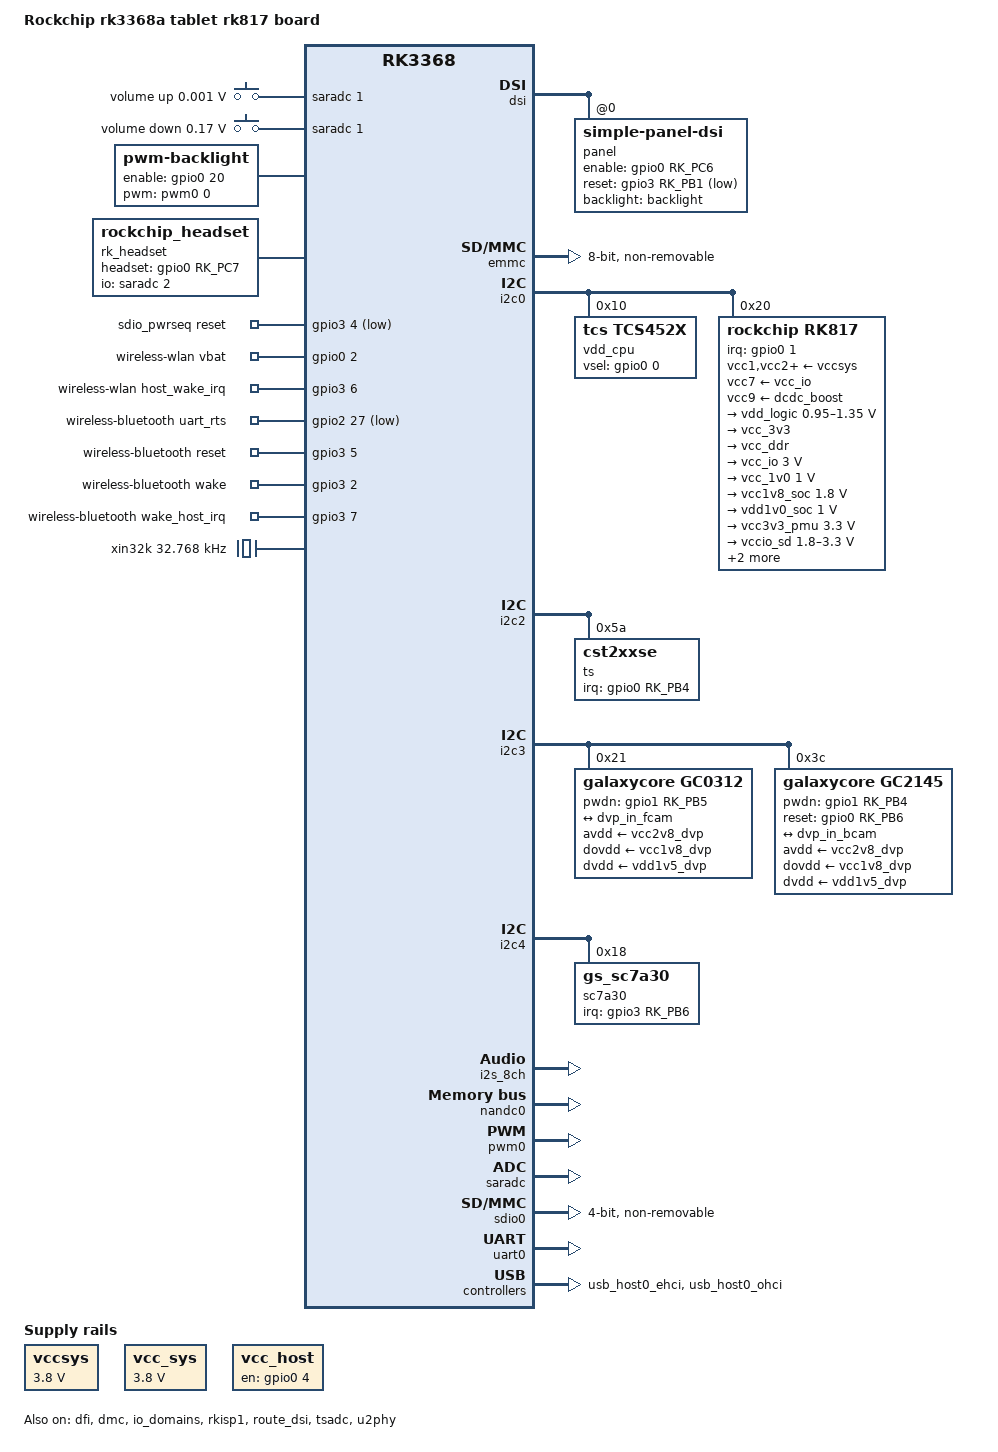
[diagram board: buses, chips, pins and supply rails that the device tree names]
// SPDX-License-Identifier: (GPL-2.0+ OR MIT)
/*
 * Copyright (c) 2020 Rockchip Electronics Co., Ltd.
 */

/dts-v1/;
#include <dt-bindings/input/input.h>
#include <dt-bindings/pwm/pwm.h>
#include <dt-bindings/sensor-dev.h>
#include "rk3368.dtsi"
#include "rk3368-android.dtsi"
/ {
	model = "Rockchip rk3368a tablet rk817 board";
	compatible = "rockchip,tablet", "rockchip,rk3368a", "rockchip,rk3368";

	adc_keys: adc-keys {
		compatible = "adc-keys";
		io-channels = <&saradc 1>;
		io-channel-names = "buttons";
		keyup-threshold-microvolt = <1024000>;
		poll-interval = <100>;

		vol-up-key {
			label = "volume up";
			linux,code = <KEY_VOLUMEUP>;
			press-threshold-microvolt = <1000>;
		};

		vol-down-key {
			label = "volume down";
			linux,code = <KEY_VOLUMEDOWN>;
			press-threshold-microvolt = <170000>;
		};
	};

	backlight: backlight {
		compatible = "pwm-backlight";
		pwms = <&pwm0 0 25000 1>;
		brightness-levels = <
			10  10  10  11  12  13  14  15
			16  16  16  16  16  16  16  16
			17  17  17  17  17  17  17  17
			18  18  18  18  18  18  18  18
			19  19  19  19  19  19  19  19
			20  20  20  20  20  20  20  20
			21  21  21  21  21  21  21  21
			22  22  22  22  22  22  22  22
			23  23  23  23	23  23  23  23
			24  24  24  24  24  24  24  24
			25  25  25  25  25  25  25  25
			26  26  26  26  26  26  26  26
			27  27  27  27  27  27  27  27
			28  28  28  28  28  28  28  28
			27  27  27  27  27  27  27  27
			30  30  30  30  30  30  30  30
			31  31  31  31  31  31  31  31
			32  32  32  32  32  32  32  32
			33  33  33  33  33  33  33  33
			34  34  34  34  34  34  34  34
			35  35  35  35  35  35  35  35
			36  36  36  36  36  36  36  36
			37  37  37  37  37  37  37  37
			38  38  38  38  38  38  38  38
			38  38  38  38  38  38  38  38
			38  38  38  38  38  38  38  38
			38  38  38  38  38  38  38  38
			38  38  38  38  38  38  38  38
			38  38  38  38  38  38  38  38
			38  38  38  38  38  38  38  38
			38  38  38  38  38  38  38  38>;
		default-brightness-level = <200>;
		enable-gpios = <&gpio0 20 GPIO_ACTIVE_HIGH>;
	};

	charge-animation {
		compatible = "rockchip,uboot-charge";
		rockchip,uboot-charge-on = <1>;
		rockchip,android-charge-on = <0>;
		rockchip,uboot-low-power-voltage = <3500>;
		rockchip,screen-on-voltage = <3600>;
		status = "okay";
	};

	chosen: chosen {
		bootargs = "earlycon=uart8250,mmio32,0xff690000 console=ttyFIQ0 androidboot.baseband=N/A androidboot.veritymode=enforcing androidboot.hardware=rk30board androidboot.console=ttyFIQ0 init=/init kpti=0";
	};

	rk817-sound {
		compatible = "simple-audio-card";
		simple-audio-card,format = "i2s";
		simple-audio-card,name = "rockchip-rk817-codec";
		simple-audio-card,mclk-fs = <256>;
		simple-audio-card,widgets =
			"Microphone", "Mic Jack",
			"Headphone", "Headphone Jack";
		simple-audio-card,routing =
			"Mic Jack", "MICBIAS1",
			"IN1P", "Mic Jack",
			"Headphone Jack", "HPOL",
			"Headphone Jack", "HPOR";
		simple-audio-card,cpu {
			sound-dai = <&i2s_8ch>;
		};
		simple-audio-card,codec {
			sound-dai = <&rk817_codec>;
		};
	};

	rk_headset: rk-headset {
		compatible = "rockchip_headset";
		headset_gpio = <&gpio0 RK_PC7 GPIO_ACTIVE_HIGH>;
		pinctrl-names = "default";
		pinctrl-0 = <&hp_det>;
		io-channels = <&saradc 2>;
	};

	sdio_pwrseq: sdio-pwrseq {
		compatible = "mmc-pwrseq-simple";
		pinctrl-names = "default";
		pinctrl-0 = <&wifi_enable_h>;

		/*
		 * On the module itself this is one of these (depending
		 * on the actual card populated):
		 * - SDIO_RESET_L_WL_REG_ON
		 * - PDN (power down when low)
		 */
		reset-gpios = <&gpio3 4 GPIO_ACTIVE_LOW>; /* GPIO3_A4 */
	};

	vccsys: vccsys {
		compatible = "regulator-fixed";
		regulator-name = "vcc3v8_sys";
		regulator-always-on;
		regulator-boot-on;
		regulator-min-microvolt = <3800000>;
		regulator-max-microvolt = <3800000>;
	};

	wireless-wlan {
		compatible = "wlan-platdata";
		/* wifi_chip_type - wifi chip define
		* ap6210, ap6330, ap6335
		* rtl8188eu, rtl8723bs, rtl8723bu
		* esp8089
		*/
		wifi_chip_type = "ap6255";
		WIFI,vbat_gpio = <&gpio0 2 GPIO_ACTIVE_HIGH>;
		WIFI,host_wake_irq = <&gpio3 6 GPIO_ACTIVE_HIGH>;
		status = "okay";
	};

	wireless-bluetooth {
		compatible = "bluetooth-platdata";
		uart_rts_gpios = <&gpio2 27 GPIO_ACTIVE_LOW>;
		pinctrl-names = "default","rts_gpio";
		pinctrl-0 = <&uart0_rts>;
		pinctrl-1 = <&uart0_rts_gpio>;

		//BT,power_gpio = <&gpio3 3 GPIO_ACTIVE_HIGH>;
		BT,reset_gpio = <&gpio3 5 GPIO_ACTIVE_HIGH>;
		BT,wake_gpio = <&gpio3 2 GPIO_ACTIVE_HIGH>;
		BT,wake_host_irq = <&gpio3 7 GPIO_ACTIVE_HIGH>;

		status = "okay";
	};

	vcc_sys: vcc-sys {
		compatible = "regulator-fixed";
		regulator-name = "vcc_sys";
		regulator-always-on;
		regulator-boot-on;
		regulator-min-microvolt = <3800000>;
		regulator-max-microvolt = <3800000>;
	};

	vcc_host: vcc-host {
		compatible = "regulator-fixed";
		enable-active-high;
		gpio = <&gpio0 4 GPIO_ACTIVE_HIGH>;
		pinctrl-names = "default";
		pinctrl-0 = <&host_vbus_drv>;
		regulator-name = "vcc_host";
		regulator-always-on;
	};

	xin32k: xin32k {
		compatible = "fixed-clock";
		clock-frequency = <32768>;
		clock-output-names = "xin32k";
		#clock-cells = <0>;
	};

};

&cif_clkout {
	/* cif_clkout */
	rockchip,pins = <1 RK_PB3 1 &pcfg_pull_none_4ma>;
};

&cpu_l0 {
	cpu-supply = <&vdd_cpu>;
};

&cpu_l1 {
	cpu-supply = <&vdd_cpu>;
};

&cpu_l2 {
	cpu-supply = <&vdd_cpu>;
};

&cpu_l3 {
	cpu-supply = <&vdd_cpu>;
};

&cpu_b0 {
	cpu-supply = <&vdd_cpu>;
};

&cpu_b1 {
	cpu-supply = <&vdd_cpu>;
};

&cpu_b2 {
	cpu-supply = <&vdd_cpu>;
};

&cpu_b3 {
	cpu-supply = <&vdd_cpu>;
};

&gpu {
	logic-supply = <&vdd_logic>;
};

&dfi {
	status = "okay";
};

&dmc {
	status = "okay";
	center-supply = <&vdd_logic>;
	devfreq-events = <&dfi>;
	upthreshold = <60>;
	downdifferential = <20>;
	system-status-freq = <
		/*system status		freq(KHz)*/
		SYS_STATUS_NORMAL	600000
		SYS_STATUS_REBOOT	600000
		SYS_STATUS_SUSPEND	240000
		SYS_STATUS_VIDEO_1080P	396000
		SYS_STATUS_VIDEO_4K	600000
		SYS_STATUS_PERFORMANCE	600000
		SYS_STATUS_BOOST	396000
		SYS_STATUS_DUALVIEW	600000
		SYS_STATUS_ISP		528000
	>;
	vop-bw-dmc-freq = <
	/* min_bw(MB/s) max_bw(MB/s) freq(KHz) */
		0       582      240000
		583     99999    396000
	>;
	vop-dclk-mode = <1>;
	auto-min-freq = <240000>;
	auto-freq-en = <0>;
};

&dsi {
	status = "okay";

	panel@0 {
		compatible = "simple-panel-dsi";
		reg = <0>;
		backlight = <&backlight>;
		enable-gpios = <&gpio0 RK_PC6 GPIO_ACTIVE_HIGH>;
		/* back-gpios = <&gpio3 RK_PD4 GPIO_ACTIVE_HIGH>; */
		reset-gpios = <&gpio3 RK_PB1 GPIO_ACTIVE_LOW>;
		prepare-delay-ms = <8>;
		enable-delay-ms = <3>;
		reset-delay-ms = <50>;
		init-delay-ms = <20>;

		dsi,flags = <(MIPI_DSI_MODE_VIDEO | MIPI_DSI_MODE_VIDEO_BURST |
			      MIPI_DSI_MODE_LPM | MIPI_DSI_MODE_EOT_PACKET)>;
		dsi,format = <MIPI_DSI_FMT_RGB888>;
		dsi,lanes = <4>;
		width-mm = <153>;
		height-mm = <85>;
		panel-init-sequence = [
			05 1e 01 01
			15 00 02 80 47
			15 00 02 81 40
			15 00 02 82 04
			15 00 02 83 77
			15 00 02 84 0f
			15 00 02 85 70
			15 78 02 86 70
		];
		panel-exit-sequence = [
			05 00 01 28
			05 00 01 10
		];

		display-timings {
			native-mode = <&timing0>;

			timing0: timing0 {
				clock-frequency = <49500000>;
				hactive = <1024>;
				vactive = <600>;
				hback-porch = <120>;
				hfront-porch = <80>;
				vback-porch = <14>;
				vfront-porch = <14>;
				hsync-len = <40>;
				vsync-len = <4>;
				hsync-active = <0>;
				vsync-active = <0>;
				de-active = <0>;
				pixelclk-active = <0>;
			};
		};
	};
};

&emmc {
	bus-width = <8>;
	cap-mmc-highspeed;
	mmc-hs200-1_8v;
	no-sdio;
	no-sd;
	disable-wp;
	non-removable;
	num-slots = <1>;
	status = "okay";
};

&i2c0 {
	status = "okay";

	vdd_cpu: tcs4525@10 {
		compatible = "tcs,tcs452x";
		reg = <0x10>;
		regulator-compatible = "fan53555-reg";
		pinctrl-0 = <&vsel_gpio>;
		vsel-gpios = <&gpio0 0 GPIO_ACTIVE_HIGH>;
		regulator-name = "vdd_cpu";
		regulator-min-microvolt = <712500>;
		regulator-max-microvolt = <1390000>;
		regulator-ramp-delay = <2300>;
		fcs,suspend-voltage-selector = <1>;
		regulator-boot-on;
		regulator-always-on;
		regulator-state-mem {
			regulator-off-in-suspend;
		};
	};
	rk817: pmic@20 {
		compatible = "rockchip,rk817";
		reg = <0x20>;
		interrupt-parent = <&gpio0>;
		interrupts = <1 IRQ_TYPE_LEVEL_LOW>;
		pinctrl-names = "default", "pmic-sleep",
				"pmic-power-off", "pmic-reset";
		pinctrl-0 = <&pmic_int>;
		pinctrl-1 = <&soc_slppin_slp>, <&rk817_slppin_slp>;
		pinctrl-2 = <&soc_slppin_gpio>, <&rk817_slppin_pwrdn>;
		pinctrl-3 = <&soc_slppin_slp>, <&rk817_slppin_slp>;
		rockchip,system-power-controller;
		wakeup-source;
		#clock-cells = <1>;
		clock-output-names = "rk808-clkout1", "rk808-clkout2";
		//fb-inner-reg-idxs = <2>;
		/* 1: rst regs (default in codes), 0: rst the pmic */
		pmic-reset-func = <1>;

		vcc1-supply = <&vccsys>;
		vcc2-supply = <&vccsys>;
		vcc3-supply = <&vccsys>;
		vcc4-supply = <&vccsys>;
		vcc5-supply = <&vccsys>;
		vcc6-supply = <&vccsys>;
		vcc7-supply = <&vcc_io>;
		vcc8-supply = <&vccsys>;
		vcc9-supply = <&dcdc_boost>;

		pwrkey {
			status = "okay";
		};

		pinctrl_rk8xx: pinctrl_rk8xx {
			gpio-controller;
			#gpio-cells = <2>;

			rk817_ts_gpio1: rk817_ts_gpio1 {
				pins = "gpio_ts";
				function = "pin_fun1";
				/* output-low; */
				/* input-enable; */
			};

			rk817_gt_gpio2: rk817_gt_gpio2 {
				pins = "gpio_gt";
				function = "pin_fun1";
			};

			rk817_pin_ts: rk817_pin_ts {
				pins = "gpio_ts";
				function = "pin_fun0";
			};

			rk817_pin_gt: rk817_pin_gt {
				pins = "gpio_gt";
				function = "pin_fun0";
			};

			rk817_slppin_null: rk817_slppin_null {
				pins = "gpio_slp";
				function = "pin_fun0";
			};

			rk817_slppin_slp: rk817_slppin_slp {
				pins = "gpio_slp";
				function = "pin_fun1";
			};

			rk817_slppin_pwrdn: rk817_slppin_pwrdn {
				pins = "gpio_slp";
				function = "pin_fun2";
			};

			rk817_slppin_rst: rk817_slppin_rst {
				pins = "gpio_slp";
				function = "pin_fun3";
			};
		};

		regulators {
			vdd_logic: DCDC_REG1 {
				regulator-always-on;
				regulator-boot-on;
				regulator-min-microvolt = <950000>;
				regulator-max-microvolt = <1350000>;
				regulator-ramp-delay = <6001>;
				regulator-initial-mode = <0x2>;
				regulator-name = "vdd_logic";
				regulator-state-mem {
					regulator-on-in-suspend;
					regulator-suspend-microvolt = <950000>;
				};
			};

			vcc_3v3: DCDC_REG2 {
				regulator-name = "vcc_3v3";
				regulator-always-on;
				regulator-boot-on;
				regulator-state-mem {
					regulator-on-in-suspend;
				};
			};

			vcc_ddr: DCDC_REG3 {
				regulator-always-on;
				regulator-boot-on;
				regulator-initial-mode = <0x2>;
				regulator-name = "vcc_ddr";
				regulator-state-mem {
					regulator-on-in-suspend;
				};
			};

			vcc_io: DCDC_REG4 {
				regulator-always-on;
				regulator-boot-on;
				regulator-min-microvolt = <3000000>;
				regulator-max-microvolt = <3000000>;
				regulator-name = "vcc_io";
				regulator-state-mem {
					regulator-off-in-suspend;
					regulator-suspend-microvolt = <3000000>;
				};
			};

			vcc_1v0: LDO_REG1 {
				regulator-always-on;
				regulator-boot-on;
				regulator-min-microvolt = <1000000>;
				regulator-max-microvolt = <1000000>;
				regulator-name = "vcc_1v0";
				regulator-state-mem {
					regulator-on-in-suspend;
					regulator-suspend-microvolt = <1000000>;
				};
			};

			vcc1v8_soc: LDO_REG2 {
				regulator-always-on;
				regulator-boot-on;
				regulator-min-microvolt = <1800000>;
				regulator-max-microvolt = <1800000>;

				regulator-name = "vcc1v8_soc";
				regulator-state-mem {
					regulator-on-in-suspend;
					regulator-suspend-microvolt = <1800000>;
				};
			};

			vdd1v0_soc: LDO_REG3 {
				regulator-always-on;
				regulator-boot-on;
				regulator-min-microvolt = <1000000>;
				regulator-max-microvolt = <1000000>;

				regulator-name = "vcc1v0_soc";
				regulator-state-mem {
					regulator-on-in-suspend;
					regulator-suspend-microvolt = <1000000>;
				};
			};

			vcc3v3_pmu: LDO_REG4 {
				regulator-always-on;
				regulator-boot-on;
				regulator-min-microvolt = <3300000>;
				regulator-max-microvolt = <3300000>;

				regulator-name = "vcc3v3_pmu";
				regulator-state-mem {
					regulator-on-in-suspend;
					regulator-suspend-microvolt = <3300000>;

				};
			};

			vccio_sd: LDO_REG5 {
				regulator-always-on;
				regulator-boot-on;
				regulator-min-microvolt = <1800000>;
				regulator-max-microvolt = <3300000>;

				regulator-name = "vccio_sd";
				regulator-state-mem {
					regulator-on-in-suspend;
					regulator-suspend-microvolt = <3300000>;
				};
			};

			vcc_sd: LDO_REG6 {
				regulator-min-microvolt = <3300000>;
				regulator-max-microvolt = <3300000>;

				regulator-name = "vcc_sd";
				regulator-state-mem {
					regulator-on-in-suspend;
					regulator-suspend-microvolt = <3300000>;

				};
			};

			vcc2v8_dvp: LDO_REG7 {
				regulator-boot-on;
				regulator-min-microvolt = <2800000>;
				regulator-max-microvolt = <2800000>;

				regulator-name = "vcc2v8_dvp";
				regulator-state-mem {
					regulator-off-in-suspend;
					regulator-suspend-microvolt = <2800000>;
				};
			};

			vcc1v8_dvp: LDO_REG8 {
				regulator-boot-on;
				regulator-min-microvolt = <1800000>;
				regulator-max-microvolt = <1800000>;

				regulator-name = "vcc1v8_dvp";
				regulator-state-mem {
					regulator-off-in-suspend;
					regulator-suspend-microvolt = <1800000>;
				};
			};

			vdd1v5_dvp: LDO_REG9 {
				regulator-boot-on;
				regulator-min-microvolt = <1500000>;
				regulator-max-microvolt = <1500000>;

				regulator-name = "vdd1v5_dvp";
				regulator-state-mem {
					regulator-off-in-suspend;
					regulator-suspend-microvolt = <1500000>;
				};
			};

			dcdc_boost: BOOST {
				regulator-always-on;
				regulator-boot-on;
				regulator-min-microvolt = <5000000>;
				regulator-max-microvolt = <5000000>;
				regulator-name = "boost";
			};

			otg_switch: OTG_SWITCH {
				regulator-name = "otg_switch";
			};
		};

		battery {
			compatible = "rk817,battery";
			ocv_table = <3500 3548 3592 3636 3687 3740 3780
				3806 3827 3846 3864 3889 3929 3964
				3993 4015 4030 4041 4056 4076 4148>;
			design_capacity = <4000>;
			design_qmax = <4200>;
			bat_res = <100>;
			sleep_enter_current = <150>;
			sleep_exit_current = <180>;
			sleep_filter_current = <100>;
			power_off_thresd = <3500>;
			zero_algorithm_vol = <3850>;
			max_soc_offset = <60>;
			monitor_sec = <5>;
			sample_res = <10>;
			virtual_power = <0>;
		};

		charger {
			compatible = "rk817,charger";
			min_input_voltage = <4500>;
			max_input_current = <1500>;
			max_chrg_current = <2000>;
			max_chrg_voltage = <4200>;
			chrg_term_mode = <0>;
			chrg_finish_cur = <300>;
			virtual_power = <0>;
			dc_det_adc = <0>;
			extcon = <&u2phy>;
		};

		rk817_codec: codec {
			#sound-dai-cells = <0>;
			compatible = "rockchip,rk817-codec";
			clocks = <&cru SCLK_I2S_8CH_OUT>;
			clock-names = "mclk";
			pinctrl-names = "default";
			pinctrl-0 = <&i2s_8ch_mclk>;
			hp-volume = <20>;
			spk-volume = <3>;
			mic-in-differential;
			status = "okay";
		};
	};
};

&i2c2 {
	status = "okay";

	ts@5a {
		compatible = "cst2xxse";
		reg = <0x5a>;
		irq-gpio = <&gpio0 RK_PB4 IRQ_TYPE_LEVEL_LOW>;
		//touch-gpio = <&gpio1 GPIO_B0 IRQ_TYPE_LEVEL_LOW>;       /* TP_INT == GPIO1_B0 */
		//reset-gpio = <&gpio0 GPIO_D1 GPIO_ACTIVE_LOW>;          /* TP_RST == GPIO0_D1 */
		//power-gpio = <&gpio0 GPIO_C5 GPIO_ACTIVE_LOW>;
		//max-x = <800>;
		//max-y = <480>;
		status = "okay";
	};
};

&i2c3 {
	status = "okay";

	gc0312: gc0312@21 {
		status = "okay";
		compatible = "galaxycore,gc0312";
		reg = <0x21>;
		clocks = <&cru SCLK_VIP_OUT>;
		clock-names = "xvclk";

		avdd-supply = <&vcc2v8_dvp>;
		dovdd-supply = <&vcc1v8_dvp>;
		dvdd-supply = <&vdd1v5_dvp>;

		pwdn-gpios = <&gpio1 RK_PB5 GPIO_ACTIVE_HIGH>;

		rockchip,camera-module-index = <1>;
		rockchip,camera-module-facing = "front";
		rockchip,camera-module-name = "CameraKing";
		rockchip,camera-module-lens-name = "Largan";
		port {
			gc0312_out: endpoint {
				remote-endpoint = <&dvp_in_fcam>;
			};
		};
	};

	gc2145: gc2145@3c {
		status = "okay";
		compatible = "galaxycore,gc2145";
		reg = <0x3c>;
		clocks = <&cru SCLK_VIP_OUT>;
		clock-names = "xvclk";

		avdd-supply = <&vcc2v8_dvp>;
		dovdd-supply = <&vcc1v8_dvp>;
		dvdd-supply = <&vdd1v5_dvp>;

		pwdn-gpios = <&gpio1 RK_PB4 GPIO_ACTIVE_HIGH>;
		reset-gpios = <&gpio0 RK_PB6 GPIO_ACTIVE_HIGH>;
		rockchip,camera-module-index = <0>;
		rockchip,camera-module-facing = "back";
		rockchip,camera-module-name = "CameraKing";
		rockchip,camera-module-lens-name = "Largan";
		port {
			gc2145_out: endpoint {
				remote-endpoint = <&dvp_in_bcam>;
			};
		};
	};

	ov8858: ov8858@36 {
		status = "disabled";
		compatible = "ovti,ov8858";
		reg = <0x36>;
		clocks = <&cru SCLK_VIP_OUT>;
		clock-names = "xvclk";

		avdd-supply = <&vcc2v8_dvp>;
		dovdd-supply = <&vcc1v8_dvp>;
		dvdd-supply = <&vdd1v5_dvp>;

		pwdn-gpios = <&gpio1 RK_PB4 GPIO_ACTIVE_HIGH>;
		reset-gpios = <&gpio0 RK_PB6 GPIO_ACTIVE_HIGH>;
		rockchip,camera-module-index = <0>;
		rockchip,camera-module-facing = "back";
		rockchip,camera-module-name = "CameraKing";
		rockchip,camera-module-lens-name = "Largan-9569A2";
		port {
			ov8858_out: endpoint {
				remote-endpoint = <&mipi_in>;
				data-lanes = <1 2>;
			};
		};
	};
};

&i2c4 {
	status = "okay";

	sc7a30: sc7a30@18 {
		status = "okay";
		compatible = "gs_sc7a30";
		reg = <0x18>;
		type = <SENSOR_TYPE_ACCEL>;
		pinctrl-names = "default";
		pinctrl-0 = <&sc7a30_irq_gpio>;
		irq-gpio = <&gpio3 RK_PB6 IRQ_TYPE_LEVEL_LOW>;
		irq_enable = <0>;
		poll_delay_ms = <30>;
		layout = <6>;
		reprobe_en = <1>;
	};

};

&i2s_8ch {
	status = "okay";
	rockchip,i2s-broken-burst-len;
	rockchip,playback-channels = <8>;
	rockchip,capture-channels = <2>;
	#sound-dai-cells = <0>;
};

&io_domains {
	status = "okay";

	dvp-supply = <&vcc1v8_dvp>;
	audio-supply = <&vcc_io>;
	gpio30-supply = <&vcc_io>;
	gpio1830-supply = <&vcc_io>;
	sdcard-supply = <&vccio_sd>;
	wifi-supply = <&vcc_3v3>;
};

&isp_dvp_d2d9 {
	rockchip,pins =
			/* cif_data4 ... cif_data9 */
			<1 RK_PA2 1 &pcfg_pull_down>,
			<1 RK_PA3 1 &pcfg_pull_down>,
			<1 RK_PA4 1 &pcfg_pull_down>,
			<1 RK_PA5 1 &pcfg_pull_down>,
			<1 RK_PA6 1 &pcfg_pull_down>,
			<1 RK_PA7 1 &pcfg_pull_down>,
			/* cif_sync, cif_href */
			<1 RK_PB0 1 &pcfg_pull_down>,
			<1 RK_PB1 1 &pcfg_pull_down>,
			/* cif_clkin */
			<1 RK_PB2 1 &pcfg_pull_down>;
};

&isp_dvp_d10d11 {
	rockchip,pins =
			/* cif_data10, cif_data11 */
			<1 RK_PB6 1 &pcfg_pull_down>,
			<1 RK_PB7 1 &pcfg_pull_down>;
};

&isp_mmu {
	status = "okay";
};

&mipi_dphy_rx0 {
	status = "disabled";

	ports {
		#address-cells = <1>;
		#size-cells = <0>;

		port@0 {
			reg = <0>;
			#address-cells = <1>;
			#size-cells = <0>;

			mipi_in: endpoint@1 {
				reg = <1>;
				remote-endpoint = <&ov8858_out>;
				data-lanes = <1 2>;
			};
		};

		port@1 {
			reg = <1>;
			#address-cells = <1>;
			#size-cells = <0>;

			dphy_rx_out: endpoint@0 {
				reg = <0>;
				remote-endpoint = <&isp_mipi_in>;
			};
		};
	};
};

&nandc0 {
	status = "okay";
};

&pmu_io_domains {
	status = "okay";

	pmu-supply = <&vcc3v3_pmu>;
	vop-supply = <&vcc3v3_pmu>;
};

&pwm0 {
	status = "okay";
};

&pinctrl {

	headphone {
		hp_det: hp-det {
			rockchip,pins = <0 RK_PC7 RK_FUNC_GPIO &pcfg_pull_up>;
		};
	};

	pmic {
		pmic_int: pmic_int {
			rockchip,pins =
				<0 RK_PA1 RK_FUNC_GPIO &pcfg_pull_up>;
		};

		soc_slppin_gpio: soc_slppin_gpio {
			rockchip,pins =
				<0 RK_PA0 RK_FUNC_GPIO &pcfg_output_low>;
		};

		soc_slppin_slp: soc_slppin_slp {
			rockchip,pins =
				<0 RK_PA0 1 &pcfg_pull_none>;
		};

		soc_slppin_rst: soc_slppin_rst {
			rockchip,pins =
				<0 RK_PA0 2 &pcfg_pull_none>;
		};

		vsel_gpio: vsel-gpio {
			rockchip,pins = <0 RK_PA0 RK_FUNC_GPIO &pcfg_pull_down>;
		};
	};

	sc7a30 {
		sc7a30_irq_gpio: sc7a30_irq_gpio {
			rockchip,pins = <3 RK_PB6 RK_FUNC_GPIO &pcfg_pull_none>;
		};
	};

	dc_det {
		dc_irq_gpio: dc-irq-gpio {
			rockchip,pins = <0 RK_PC1 RK_FUNC_GPIO &pcfg_pull_up>;
		};
	};

	pcfg_pull_none_4ma: pcfg-pull-none-4ma {
		bias-disable;
		drive-strength = <4>;
	};

	pcfg_pull_none_smt: pcfg-pull-none-smt {
		bias-disable;
		input-schmitt-enable;
	};

	pcfg_output_high: pcfg-output-high {
		output-high;
	};

	pcfg_output_low: pcfg-output-low {
		output-low;
	};

	pcfg_input_high: pcfg-input-high {
		bias-pull-up;
		input-enable;
	};

	pcfg_input: pcfg-input {
		input-enable;
	};

	sdio-pwrseq {
		wifi_enable_h: wifi-enable-h {
			rockchip,pins = <3 RK_PA4 RK_FUNC_GPIO &pcfg_pull_none>;
		};
	};

	usb2 {
		host_vbus_drv: host-vbus-drv {
			rockchip,pins = <0 RK_PA4 RK_FUNC_GPIO &pcfg_pull_none>;
		};
	};

	wireless-bluetooth {
		uart0_rts_gpio: uart0-rts-gpio {
			rockchip,pins = <2 RK_PD3 RK_FUNC_GPIO &pcfg_pull_none>;
		};
	};
};

&rkisp1 {
	status = "okay";
	pinctrl-names = "default";
	pinctrl-0 = <&isp_dvp_d2d9 &isp_dvp_d10d11 &cif_clkout>;
	port {
		#address-cells = <1>;
		#size-cells = <0>;

		dvp_in_fcam: endpoint@0 {
			reg = <0>;
			remote-endpoint = <&gc0312_out>;
		};

		dvp_in_bcam: endpoint@1 {
			reg = <1>;
			remote-endpoint = <&gc2145_out>;
		};

		isp_mipi_in: endpoint@2 {
			reg = <2>;
			remote-endpoint = <&dphy_rx_out>;
		};
	};
};

&route_dsi {
	status = "okay";
};

&rockchip_suspend {
	status = "okay";
	rockchip,sleep-mode-config = <
		(0
		| RKPM_SLP_ARMOFF
		| RKPM_SLP_PMU_PLLS_PWRDN
		| RKPM_SLP_PMU_PMUALIVE_32K
		| RKPM_SLP_SFT_PLLS_DEEP
		| RKPM_SLP_PMU_DIS_OSC
		| RKPM_SLP_SFT_PD_NBSCUS
		)
	>;
	rockchip,wakeup-config = <
		(0
		| RKPM_GPIO_WKUP_EN
		| RKPM_USB_WKUP_EN
		| RKPM_CLUSTER_L_WKUP_EN
		)
	>;
};

&saradc {
	status = "okay";
};

&sdmmc {
	clock-frequency = <37500000>;
	clock-freq-min-max = <400000 37500000>;
	no-sdio;
	no-mmc;
	cap-mmc-highspeed;
	cap-sd-highspeed;
	card-detect-delay = <200>;
	disable-wp;
	num-slots = <1>;
	pinctrl-names = "default";
	pinctrl-0 = <&sdmmc_clk &sdmmc_cmd &sdmmc_cd &sdmmc_bus4>;
	vmmc-supply = <&vcc_sd>;
	status = "disabled";
};

&sdio0 {
	max-frequency = <50000000>;
	no-sd;
	no-mmc;
	bus-width = <4>;
	disable-wp;
	cap-sd-highspeed;
	cap-sdio-irq;
	keep-power-in-suspend;
	mmc-pwrseq = <&sdio_pwrseq>;
	non-removable;
	num-slots = <1>;
	pinctrl-names = "default";
	pinctrl-0 = <&sdio0_bus4 &sdio0_cmd &sdio0_clk>;
	rockchip,default-sample-phase = <90>;
	status = "okay";
};

&tsadc {
	tsadc-supply = <&vdd_cpu>;
	status = "okay";
};

&uart0 {
	pinctrl-names = "default";
	pinctrl-0 = <&uart0_xfer &uart0_cts>;
	status = "okay";
};

&u2phy {
	status = "okay";

	u2phy_otg: otg-port {
		status = "okay";
	};

	u2phy_host: host-port {
		phy-supply = <&vcc_host>;
		status = "okay";
	};
};

&usb_host0_ehci {
	status = "okay";
};

&usb_host0_ohci {
	status = "okay";
};

